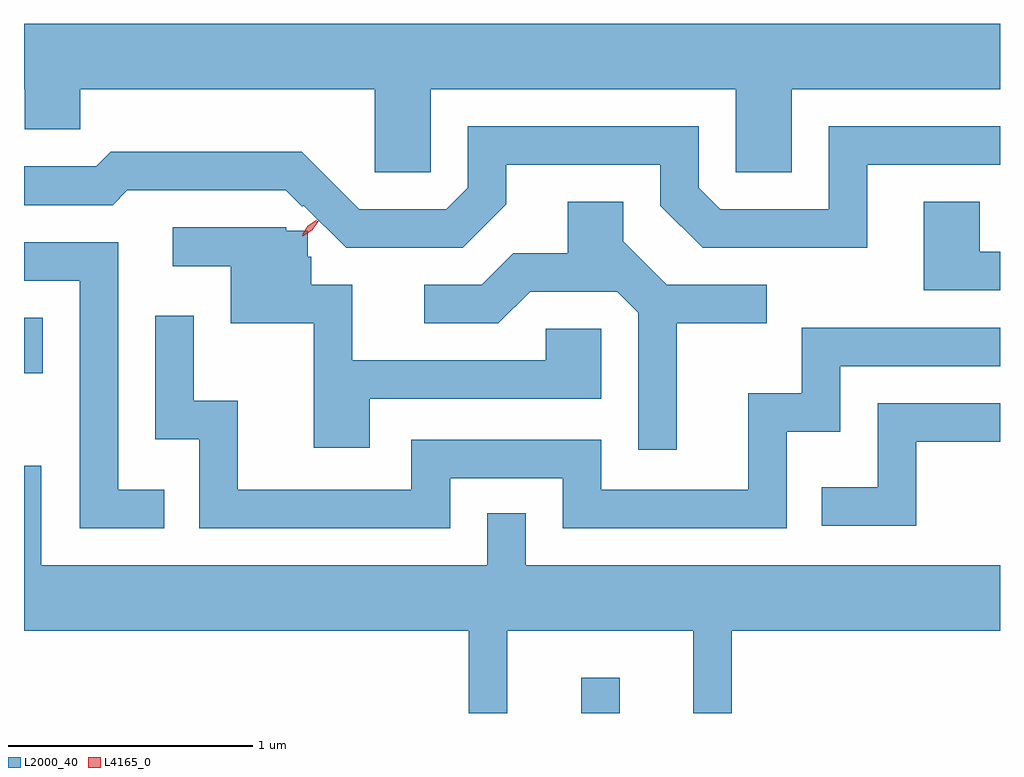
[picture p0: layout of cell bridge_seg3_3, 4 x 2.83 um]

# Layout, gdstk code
import gdstk
lib = gdstk.Library(unit=1e-6, precision=1e-09)
def R(c, l, rs):  # rectangles x0, y0, x1, y1
    for r in rs: c.add(gdstk.rectangle(r[:2], r[2:], *l))
def P(c, l, *ps):  # polygons
    for p in ps: c.add(gdstk.Polygon(p, *l))
L2000_40 = (2000, 40)
L4165_0 = (4165, 0)

bridge_seg3_3 = lib.new_cell('bridge_seg3_3')
R(bridge_seg3_3, L2000_40, [(1876.106,1249.998,1876.264,1250.143), (1873.823,1251.391,1873.899,1251.619)])
P(bridge_seg3_3, L2000_40, [(1875.489,1252.556),(1876.741,1252.556),(1876.741,1252.216),(1876.969,1252.216),(1876.969,1252.556),(1877.823,1252.556),(1877.823,1252.824),(1873.823,1252.824),(1873.823,1252.556),(1873.826,1252.556),(1873.826,1252.391),(1874.054,1252.391),(1874.054,1252.556),(1875.261,1252.556),(1875.261,1252.216),(1875.489,1252.216)],
  [(1875.799,1252.084),(1875.799,1252.246),(1876.431,1252.246),(1876.431,1252.079),(1876.604,1251.906),(1877.279,1251.906),(1877.279,1252.246),(1877.823,1252.246),(1877.823,1252.404),(1877.121,1252.404),(1877.121,1252.064),(1876.677,1252.064),(1876.589,1252.152),(1876.589,1252.404),(1875.641,1252.404),(1875.641,1252.152),(1875.554,1252.064),(1875.197,1252.064),(1874.962,1252.299),(1874.179,1252.299),(1874.119,1252.239),(1873.823,1252.239),(1873.823,1252.081),(1874.187,1252.081),(1874.247,1252.141),(1874.896,1252.141),(1874.964,1252.073),(1874.97,1252.079),(1875.143,1251.906),(1875.622,1251.906)],
  [(1877.823,1251.889),(1877.739,1251.889),(1877.739,1252.094),(1877.511,1252.094),(1877.511,1251.731),(1877.823,1251.731)],
  [(1876.499,1251.596),(1876.868,1251.596),(1876.868,1251.754),(1876.457,1251.754),(1876.279,1251.932),(1876.279,1252.094),(1876.051,1252.094),(1876.051,1251.884),(1875.829,1251.884),(1875.699,1251.754),(1875.463,1251.754),(1875.463,1251.596),(1875.767,1251.596),(1875.897,1251.726),(1876.254,1251.726),(1876.341,1251.639),(1876.341,1251.078),(1876.499,1251.078)],
  [(1875.239,1251.286),(1876.189,1251.286),(1876.189,1251.574),(1875.961,1251.574),(1875.961,1251.444),(1875.169,1251.444),(1875.169,1251.754),(1875.001,1251.754),(1875.001,1251.868),(1874.986,1251.868),(1874.986,1251.975),(1874.898,1251.975),(1874.898,1251.989),(1874.433,1251.989),(1874.433,1251.831),(1874.671,1251.831),(1874.671,1251.596),(1875.011,1251.596),(1875.011,1251.086),(1875.239,1251.086)],
  [(1874.398,1250.914),(1874.209,1250.914),(1874.209,1251.929),(1873.823,1251.929),(1873.823,1251.771),(1874.051,1251.771),(1874.051,1250.756),(1874.398,1250.756)],
  [(1875.569,1250.961),(1876.031,1250.961),(1876.031,1250.756),(1876.949,1250.756),(1876.949,1251.151),(1877.169,1251.151),(1877.169,1251.421),(1877.823,1251.421),(1877.823,1251.579),(1877.011,1251.579),(1877.011,1251.309),(1876.791,1251.309),(1876.791,1250.914),(1876.189,1250.914),(1876.189,1251.119),(1875.411,1251.119),(1875.411,1250.914),(1874.699,1250.914),(1874.699,1251.279),(1874.519,1251.279),(1874.519,1251.628),(1874.361,1251.628),(1874.361,1251.121),(1874.541,1251.121),(1874.541,1250.756),(1875.569,1250.756)],
  [(1877.479,1251.111),(1877.823,1251.111),(1877.823,1251.269),(1877.321,1251.269),(1877.321,1250.924),(1877.093,1250.924),(1877.093,1250.766),(1877.479,1250.766)],
  [(1875.804,1250.336),(1876.566,1250.336),(1876.566,1249.998),(1876.724,1249.998),(1876.724,1250.336),(1877.823,1250.336),(1877.823,1250.604),(1875.879,1250.604),(1875.879,1250.818),(1875.721,1250.818),(1875.721,1250.604),(1873.894,1250.604),(1873.894,1251.013),(1873.823,1251.013),(1873.823,1250.336),(1875.646,1250.336),(1875.646,1249.998),(1875.804,1249.998)])
P(bridge_seg3_3, L4165_0, [(1874.964,1251.953),(1874.964,1251.954),(1874.99,1251.992),(1875.029,1252.017),(1875.03,1252.017),(1875.03,1252.016),(1875.004,1251.978),(1874.965,1251.953)],
  [(1874.964,1251.959),(1874.964,1251.96),(1874.986,1251.996),(1875.022,1252.02),(1875.023,1252.02),(1875.023,1252.019),(1875,1251.982),(1874.964,1251.959)])

lib.write_gds('bridge_seg3_3.gds')
